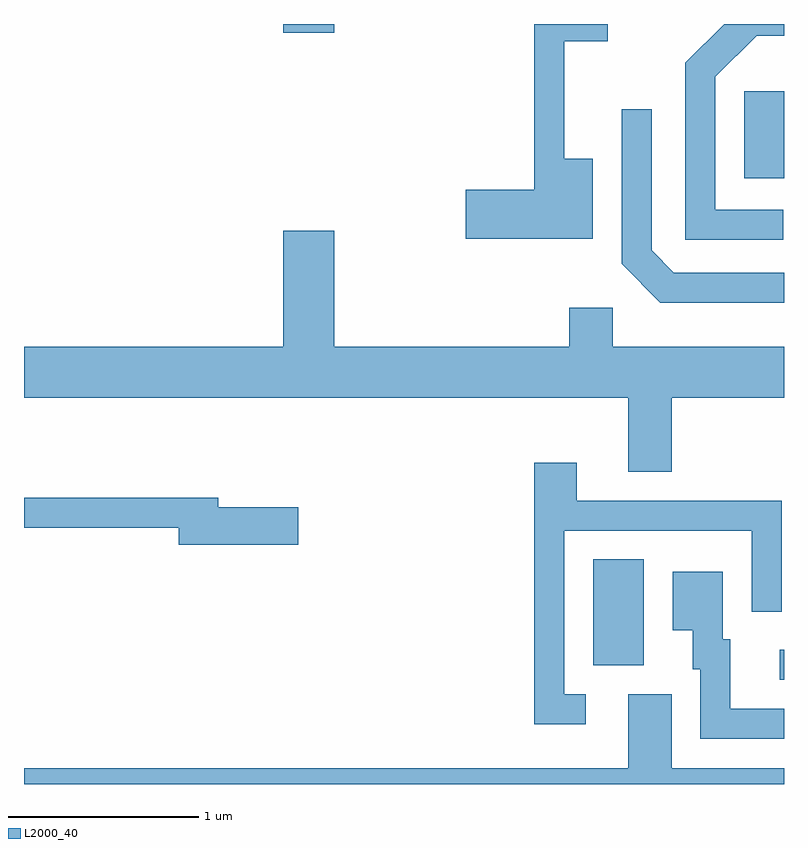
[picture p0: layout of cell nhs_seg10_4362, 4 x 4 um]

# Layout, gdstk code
import gdstk
lib = gdstk.Library(unit=1e-6, precision=1e-09)
def R(c, l, rs):  # rectangles x0, y0, x1, y1
    for r in rs: c.add(gdstk.rectangle(r[:2], r[2:], *l))
def P(c, l, *ps):  # polygons
    for p in ps: c.add(gdstk.Polygon(p, *l))
L2000_40 = (2000, 40)

nhs_seg10_4362 = lib.new_cell('nhs_seg10_4362')
R(nhs_seg10_4362, L2000_40, [(317.588,2139.071,317.611,2139.229), (316.606,2139.146,316.874,2139.704), (317.401,2141.711,317.611,2142.169), (314.976,2142.476,315.244,2142.522)])
P(nhs_seg10_4362, L2000_40, [(317.608,2141.544),(317.249,2141.544),(317.249,2142.244),(317.467,2142.461),(317.611,2142.461),(317.611,2142.522),(317.297,2142.522),(317.091,2142.317),(317.091,2141.386),(317.608,2141.386)],
  [(316.604,2141.814),(316.454,2141.814),(316.454,2142.431),(316.683,2142.431),(316.683,2142.522),(316.296,2142.522),(316.296,2141.649),(315.936,2141.649),(315.936,2141.391),(316.604,2141.391)],
  [(317.611,2141.214),(317.032,2141.214),(316.914,2141.332),(316.914,2142.073),(316.756,2142.073),(316.756,2141.259),(316.959,2141.056),(317.611,2141.056)],
  [(317.019,2140.556),(317.611,2140.556),(317.611,2140.824),(316.709,2140.824),(316.709,2141.029),(316.481,2141.029),(316.481,2140.824),(315.244,2140.824),(315.244,2141.434),(314.976,2141.434),(314.976,2140.824),(313.611,2140.824),(313.611,2140.556),(316.791,2140.556),(316.791,2140.166),(317.019,2140.166)],
  [(316.568,2138.994),(316.454,2138.994),(316.454,2139.856),(317.441,2139.856),(317.441,2139.428),(317.599,2139.428),(317.599,2140.014),(316.519,2140.014),(316.519,2140.214),(316.296,2140.214),(316.296,2138.836),(316.568,2138.836)],
  [(315.054,2139.979),(314.634,2139.979),(314.634,2140.029),(313.611,2140.029),(313.611,2139.871),(314.426,2139.871),(314.426,2139.781),(315.054,2139.781)],
  [(317.611,2138.919),(317.329,2138.919),(317.329,2139.284),(317.289,2139.284),(317.289,2139.639),(317.026,2139.639),(317.026,2139.331),(317.131,2139.331),(317.131,2139.126),(317.171,2139.126),(317.171,2138.761),(317.611,2138.761)],
  [(317.611,2138.604),(317.019,2138.604),(317.019,2138.994),(316.791,2138.994),(316.791,2138.604),(313.611,2138.604),(313.611,2138.522),(317.611,2138.522)])

lib.write_gds('nhs_seg10_4362.gds')
